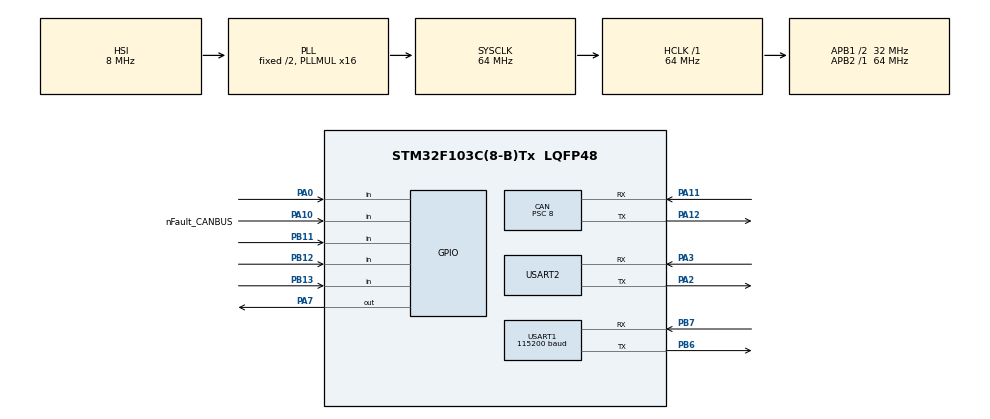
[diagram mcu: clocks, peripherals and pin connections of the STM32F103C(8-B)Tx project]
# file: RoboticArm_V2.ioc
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CAN.ABOM=ENABLE
CAN.BS1=CAN_BS1_13TQ
CAN.BS2=CAN_BS2_2TQ
CAN.CalculateBaudRate=250000
CAN.CalculateTimeBit=4000
CAN.CalculateTimeQuantum=250.0
CAN.NART=ENABLE
CAN.Prescaler=8
CAN.SJW=CAN_SJW_2TQ
Dma.Request0=USART2_RX
Dma.Request1=USART1_RX
Dma.USART1_RX.1.Direction=DMA_PERIPH_TO_MEMORY
Dma.USART1_RX.1.Instance=DMA1_Channel5
Dma.USART1_RX.1.MemDataAlignment=DMA_MDATAALIGN_BYTE
Dma.USART1_RX.1.MemInc=DMA_MINC_ENABLE
Dma.USART1_RX.1.Mode=DMA_NORMAL
Dma.USART1_RX.1.PeriphDataAlignment=DMA_PDATAALIGN_BYTE
Dma.USART1_RX.1.PeriphInc=DMA_PINC_DISABLE
Dma.USART1_RX.1.Priority=DMA_PRIORITY_LOW
Dma.USART2_RX.0.Direction=DMA_PERIPH_TO_MEMORY
Dma.USART2_RX.0.Instance=DMA1_Channel6
Dma.USART2_RX.0.MemDataAlignment=DMA_MDATAALIGN_BYTE
Dma.USART2_RX.0.MemInc=DMA_MINC_ENABLE
Dma.USART2_RX.0.Mode=DMA_NORMAL
Dma.USART2_RX.0.PeriphDataAlignment=DMA_PDATAALIGN_BYTE
Dma.USART2_RX.0.PeriphInc=DMA_PINC_DISABLE
Dma.USART2_RX.0.Priority=DMA_PRIORITY_LOW
Mcu.Family=STM32F1
Mcu.Name=STM32F103C(8-B)Tx
Mcu.Package=LQFP48
NVIC.DMA1_Channel5_IRQn=true\:0\:0\:false\:false\:true\:false\:true\:true
NVIC.DMA1_Channel6_IRQn=true\:0\:0\:false\:false\:true\:false\:true\:true
NVIC.PriorityGroup=NVIC_PRIORITYGROUP_4
NVIC.TIM2_IRQn=true\:0\:0\:false\:false\:true\:true\:true\:true
NVIC.TIM4_IRQn=true\:0\:0\:false\:false\:true\:true\:true\:true
NVIC.USART1_IRQn=true\:0\:0\:false\:false\:true\:true\:true\:true
NVIC.USART2_IRQn=true\:0\:0\:false\:false\:true\:true\:true\:true
NVIC.USB_LP_CAN1_RX0_IRQn=true\:0\:0\:false\:false\:true\:true\:true\:true
PA0-WKUP.Signal=GPIO_Input
PA10.GPIO_Label=nFault_CANBUS
PA10.Signal=GPIO_Input
PA11.Mode=CAN_Activate
PA11.Signal=CAN_RX
PA12.Mode=CAN_Activate
PA12.Signal=CAN_TX
PA13.Mode=Serial_Wire
PA13.Signal=SYS_JTMS-SWDIO
PA14.Mode=Serial_Wire
PA14.Signal=SYS_JTCK-SWCLK
PA2.Mode=Asynchronous
PA2.Signal=USART2_TX
PA3.Mode=Asynchronous
PA3.Signal=USART2_RX
PA7.Signal=GPIO_Output
PB11.Signal=GPIO_Input
PB12.Signal=GPIO_Input
PB13.Signal=GPIO_Input
PB6.Mode=Asynchronous
PB6.Signal=USART1_TX
PB7.Mode=Asynchronous
PB7.Signal=USART1_RX
ProjectManager.HeapSize=0x200
ProjectManager.StackSize=0x400
ProjectManager.TargetToolchain=STM32CubeIDE
RCC.ADCPresc=RCC_ADCPCLK2_DIV8
RCC.AHBFreq_Value=64000000
RCC.APB1CLKDivider=RCC_HCLK_DIV2
RCC.APB1Freq_Value=32000000
RCC.APB1TimFreq_Value=64000000
RCC.APB2Freq_Value=64000000
RCC.APB2TimFreq_Value=64000000
RCC.HCLKFreq_Value=64000000
RCC.PLLMUL=RCC_PLL_MUL16
RCC.SYSCLKFreq_VALUE=64000000
RCC.SYSCLKSource=RCC_SYSCLKSOURCE_PLLCLK
RCC.USBFreq_Value=64000000
TIM2.Period=199
TIM2.Prescaler=6399
TIM4.Period=199
TIM4.Prescaler=6399
USART1.BaudRate=115200
USART1.VirtualMode=VM_ASYNC
USART2.VirtualMode=VM_ASYNC
VP_TIM2_VS_ClockSourceINT.Mode=Internal
VP_TIM4_VS_ClockSourceINT.Mode=Internal
board=custom

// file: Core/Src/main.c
/* USER CODE BEGIN Header */
/**
  ******************************************************************************
  * @file           : main.c
  * @brief          : Main program body
  ******************************************************************************
  * @attention
  *
  * Copyright (c) 2025 STMicroelectronics.
  * All rights reserved.
  *
  * This software is licensed under terms that can be found in the LICENSE file
  * in the root directory of this software component.
  * If no LICENSE file comes with this software, it is provided AS-IS.
  *
  ******************************************************************************
  */
/* USER CODE END Header */
#include "main.h"

/* USER CODE BEGIN Includes */
#include "motor_control.h"
#include "motor_configuration.h"
#include "simulator_manager.h"
#include "arm_state_manager.h"
#include "arm_controller.h"
#include "ika_comm.h"
#include "gripper_link.h"
#include "homing.h"
/* USER CODE END Includes */

CAN_HandleTypeDef hcan;

TIM_HandleTypeDef htim2;
TIM_HandleTypeDef htim4;

UART_HandleTypeDef huart1;
UART_HandleTypeDef huart2;
DMA_HandleTypeDef hdma_usart1_rx;
DMA_HandleTypeDef hdma_usart2_rx;

/* USER CODE BEGIN PV */
uint32_t Testtime =0;
uint32_t periodTime = 0;

volatile uint8_t dbg_gripper_cmd = 0xFF;  /* 1 ac, 2 kapa, 3 dur, 4 ariza temizle, 5 ToF yeniden */
volatile int8_t  dbg_gripper_jog = 0;     /* +1 / -1 = operator tusu basili, 0 = birak */
volatile uint8_t dbg_can_tec, dbg_can_rec, dbg_can_lec;

bool ledOnOff = 0;
uint8_t test, test2, speedModeTest, VelTest = 0, testID=0, pin=0, pin1=0;
int32_t TestVelocity = 0 ;
/* USER CODE END PV */

void SystemClock_Config(void);
static void MX_GPIO_Init(void);
static void MX_DMA_Init(void);
static void MX_CAN_Init(void);
static void MX_USART2_UART_Init(void);
static void MX_TIM2_Init(void);
static void MX_USART1_UART_Init(void);
static void MX_TIM4_Init(void);

/* USER CODE BEGIN 0 */

/* FIFO1: motor SDO cevaplari (0x580-0x5FF) */
void HAL_CAN_RxFifo1MsgPendingCallback(CAN_HandleTypeDef *_hcan)
{
  if (_hcan == &hcan)
	{
		MotorControl_ProcessCanMessage();
	}
  else return;
}

/* FIFO0: kiskac karti mesajlari (0x681-0x693) */
void HAL_CAN_RxFifo0MsgPendingCallback(CAN_HandleTypeDef *_hcan)
{
  if (_hcan == &hcan)
  {
    GripperLink_OnCanRx(_hcan);
  }
}

void HAL_GPIO_EXTI_Callback(uint16_t GPIO_Pin)
{
	//if(GPIO_Pin == GPIO_PIN_12 || GPIO_Pin == GPIO_PIN_13 || GPIO_Pin == GPIO_PIN_4)
	//	Homing_HallEffectDetecter(GPIO_Pin);

}
/* USER CODE END 0 */

int main(void)
{

  /* MCU Configuration--------------------------------------------------------*/

  /* Reset of all peripherals, Initializes the Flash interface and the Systick. */
  HAL_Init();

  /* Configure the system clock */
  SystemClock_Config();

  /* Initialize all configured peripherals */
  MX_GPIO_Init();
  MX_DMA_Init();
  MX_CAN_Init();
  MX_USART2_UART_Init();
  MX_TIM2_Init();
  MX_USART1_UART_Init();
  MX_TIM4_Init();
  /* USER CODE BEGIN 2 */
  HAL_Delay(3000);
  MotorControl_InitalizeCanProtocol(&hcan);   /* CAN'i baslatir, motor filtresi bank 10 */
  GripperLink_Init(&hcan);                    /* kiskac filtresi bank 11 -> FIFO0 */
  MotorControl_SetAllMotorsToSpeedMode();
  HAL_Delay(100);
  SimulatorManager_InitializePortAndTimer(&huart2, &htim2);
  HAL_Delay(50);
  IkaComm_InitializePort(&huart1, &htim4);

/*	for (uint8_t i = 0; i < NUMBER_OF_MOTORS; i++) {
		MotorControl_SetMotorVelocity(MOTOR_CAN_IDS[i], 500);
	}
*/

  /* USER CODE END 2 */

  /* Infinite loop */
  while (1)
  {

    /* USER CODE BEGIN 3 */

    // Her loop'ta motorların pozisyonu mutlaka güncellenmeli
	    Testtime = HAL_GetTick();
	  	MotorControl_RequestMessage();
	 	for (uint8_t i = 0; i < NUMBER_OF_MOTORS; i++)
		{
			MotorControl_ReadPosition(MOTOR_CAN_IDS[i]);
		}
		for (uint8_t i = 0; i < 3; i++)
		{
			for (uint8_t i = 0; i < NUMBER_OF_MOTORS; i++)
			{
				MotorControl_ProcessMessageBuffer(MOTOR_CAN_IDS[i]);
				HAL_Delay(1);
			}
		}
		ArmStateManager_Update();

		if (dbg_gripper_cmd != 0xFF) { GripperLink_RequestCommand(dbg_gripper_cmd); dbg_gripper_cmd = 0xFF; }
		if (dbg_gripper_jog != 0)    { GripperLink_OperatorInput(dbg_gripper_jog); }
		uint32_t esr = hcan.Instance->ESR;
		dbg_can_tec = (esr >> 16) & 0xFF;  dbg_can_rec = (esr >> 24) & 0xFF;  dbg_can_lec = (esr >> 4) & 0x07;

		/* Kiskac: gelen durum/ToF mesajlarini isle, komut + canlilik gonder */
		GripperLink_Task();

		/*if(!HAL_GPIO_ReadPin(GPIOB, GPIO_PIN_13))
		{
			periodTime=periodTime;
		}*/

		if(ledOnOff)
			HAL_GPIO_WritePin(GPIOA, GPIO_PIN_7, 1);
		else
			HAL_GPIO_WritePin(GPIOA, GPIO_PIN_7, 0);

		periodTime = HAL_GetTick() - Testtime;

  }
  /* USER CODE END 3 */
}

void SystemClock_Config(void)
{
  RCC_OscInitTypeDef RCC_OscInitStruct = {0};
  RCC_ClkInitTypeDef RCC_ClkInitStruct = {0};

  /** Initializes the RCC Oscillators according to the specified parameters
  * in the RCC_OscInitTypeDef structure.
  */
  RCC_OscInitStruct.OscillatorType = RCC_OSCILLATORTYPE_HSI;
  RCC_OscInitStruct.HSIState = RCC_HSI_ON;
  RCC_OscInitStruct.HSICalibrationValue = RCC_HSICALIBRATION_DEFAULT;
  RCC_OscInitStruct.PLL.PLLState = RCC_PLL_ON;
  RCC_OscInitStruct.PLL.PLLSource = RCC_PLLSOURCE_HSI_DIV2;
  RCC_OscInitStruct.PLL.PLLMUL = RCC_PLL_MUL16;
  if (HAL_RCC_OscConfig(&RCC_OscInitStruct) != HAL_OK)
  {
    Error_Handler();
  }

  /** Initializes the CPU, AHB and APB buses clocks
  */
  RCC_ClkInitStruct.ClockType = RCC_CLOCKTYPE_HCLK|RCC_CLOCKTYPE_SYSCLK
                              |RCC_CLOCKTYPE_PCLK1|RCC_CLOCKTYPE_PCLK2;
  RCC_ClkInitStruct.SYSCLKSource = RCC_SYSCLKSOURCE_PLLCLK;
  RCC_ClkInitStruct.AHBCLKDivider = RCC_SYSCLK_DIV1;
  RCC_ClkInitStruct.APB1CLKDivider = RCC_HCLK_DIV2;
  RCC_ClkInitStruct.APB2CLKDivider = RCC_HCLK_DIV1;

  if (HAL_RCC_ClockConfig(&RCC_ClkInitStruct, FLASH_LATENCY_2) != HAL_OK)
  {
    Error_Handler();
  }
}

static void MX_CAN_Init(void)
{

  hcan.Instance = CAN1;
  hcan.Init.Prescaler = 8;
  hcan.Init.Mode = CAN_MODE_NORMAL;
  hcan.Init.SyncJumpWidth = CAN_SJW_2TQ;
  hcan.Init.TimeSeg1 = CAN_BS1_13TQ;
  hcan.Init.TimeSeg2 = CAN_BS2_2TQ;
  hcan.Init.TimeTriggeredMode = DISABLE;
  hcan.Init.AutoBusOff = ENABLE;
  hcan.Init.AutoWakeUp = DISABLE;
  hcan.Init.AutoRetransmission = ENABLE;
  hcan.Init.ReceiveFifoLocked = DISABLE;
  hcan.Init.TransmitFifoPriority = DISABLE;
  if (HAL_CAN_Init(&hcan) != HAL_OK)
  {
    Error_Handler();
  }

}

static void MX_TIM2_Init(void)
{

  TIM_ClockConfigTypeDef sClockSourceConfig = {0};
  TIM_MasterConfigTypeDef sMasterConfig = {0};

  htim2.Instance = TIM2;
  htim2.Init.Prescaler = 6399;
  htim2.Init.CounterMode = TIM_COUNTERMODE_UP;
  htim2.Init.Period = 199;
  htim2.Init.ClockDivision = TIM_CLOCKDIVISION_DIV1;
  htim2.Init.AutoReloadPreload = TIM_AUTORELOAD_PRELOAD_DISABLE;
  if (HAL_TIM_Base_Init(&htim2) != HAL_OK)
  {
    Error_Handler();
  }
  sClockSourceConfig.ClockSource = TIM_CLOCKSOURCE_INTERNAL;
  if (HAL_TIM_ConfigClockSource(&htim2, &sClockSourceConfig) != HAL_OK)
  {
    Error_Handler();
  }
  sMasterConfig.MasterOutputTrigger = TIM_TRGO_RESET;
  sMasterConfig.MasterSlaveMode = TIM_MASTERSLAVEMODE_DISABLE;
  if (HAL_TIMEx_MasterConfigSynchronization(&htim2, &sMasterConfig) != HAL_OK)
  {
    Error_Handler();
  }

}

static void MX_TIM4_Init(void)
{

  TIM_ClockConfigTypeDef sClockSourceConfig = {0};
  TIM_MasterConfigTypeDef sMasterConfig = {0};

  htim4.Instance = TIM4;
  htim4.Init.Prescaler = 6399;
  htim4.Init.CounterMode = TIM_COUNTERMODE_UP;
  htim4.Init.Period = 199;
  htim4.Init.ClockDivision = TIM_CLOCKDIVISION_DIV1;
  htim4.Init.AutoReloadPreload = TIM_AUTORELOAD_PRELOAD_DISABLE;
  if (HAL_TIM_Base_Init(&htim4) != HAL_OK)
  {
    Error_Handler();
  }
  sClockSourceConfig.ClockSource = TIM_CLOCKSOURCE_INTERNAL;
  if (HAL_TIM_ConfigClockSource(&htim4, &sClockSourceConfig) != HAL_OK)
  {
    Error_Handler();
  }
  sMasterConfig.MasterOutputTrigger = TIM_TRGO_RESET;
  sMasterConfig.MasterSlaveMode = TIM_MASTERSLAVEMODE_DISABLE;
  if (HAL_TIMEx_MasterConfigSynchronization(&htim4, &sMasterConfig) != HAL_OK)
  {
    Error_Handler();
  }

}

static void MX_USART1_UART_Init(void)
{

  huart1.Instance = USART1;
  huart1.Init.BaudRate = 115200;
  huart1.Init.WordLength = UART_WORDLENGTH_8B;
  huart1.Init.StopBits = UART_STOPBITS_1;
  huart1.Init.Parity = UART_PARITY_NONE;
  huart1.Init.Mode = UART_MODE_TX_RX;
  huart1.Init.HwFlowCtl = UART_HWCONTROL_NONE;
  huart1.Init.OverSampling = UART_OVERSAMPLING_16;
  if (HAL_UART_Init(&huart1) != HAL_OK)
  {
    Error_Handler();
  }

}

static void MX_USART2_UART_Init(void)
{

  huart2.Instance = USART2;
  huart2.Init.BaudRate = 115200;
  huart2.Init.WordLength = UART_WORDLENGTH_8B;
  huart2.Init.StopBits = UART_STOPBITS_1;
  huart2.Init.Parity = UART_PARITY_NONE;
  huart2.Init.Mode = UART_MODE_TX_RX;
  huart2.Init.HwFlowCtl = UART_HWCONTROL_NONE;
  huart2.Init.OverSampling = UART_OVERSAMPLING_16;
  if (HAL_UART_Init(&huart2) != HAL_OK)
  {
    Error_Handler();
  }

}

static void MX_DMA_Init(void)
{

  /* DMA controller clock enable */
  __HAL_RCC_DMA1_CLK_ENABLE();

  /* DMA interrupt init */
  /* DMA1_Channel5_IRQn interrupt configuration */
  HAL_NVIC_SetPriority(DMA1_Channel5_IRQn, 0, 0);
  HAL_NVIC_EnableIRQ(DMA1_Channel5_IRQn);
  /* DMA1_Channel6_IRQn interrupt configuration */
  HAL_NVIC_SetPriority(DMA1_Channel6_IRQn, 0, 0);
  HAL_NVIC_EnableIRQ(DMA1_Channel6_IRQn);

}

static void MX_GPIO_Init(void)
{
  GPIO_InitTypeDef GPIO_InitStruct = {0};

  /* GPIO Ports Clock Enable */
  __HAL_RCC_GPIOA_CLK_ENABLE();
  __HAL_RCC_GPIOB_CLK_ENABLE();

  /*Configure GPIO pin Output Level */
  HAL_GPIO_WritePin(GPIOA, GPIO_PIN_7, GPIO_PIN_RESET);

  /*Configure GPIO pins : PA0 nFault_CANBUS_Pin */
  GPIO_InitStruct.Pin = GPIO_PIN_0|nFault_CANBUS_Pin;
  GPIO_InitStruct.Mode = GPIO_MODE_INPUT;
  GPIO_InitStruct.Pull = GPIO_NOPULL;
  HAL_GPIO_Init(GPIOA, &GPIO_InitStruct);

  /*Configure GPIO pin : PA7 */
  GPIO_InitStruct.Pin = GPIO_PIN_7;
  GPIO_InitStruct.Mode = GPIO_MODE_OUTPUT_PP;
  GPIO_InitStruct.Pull = GPIO_NOPULL;
  GPIO_InitStruct.Speed = GPIO_SPEED_FREQ_LOW;
  HAL_GPIO_Init(GPIOA, &GPIO_InitStruct);

  /*Configure GPIO pins : PB11 PB12 PB13 */
  GPIO_InitStruct.Pin = GPIO_PIN_11|GPIO_PIN_12|GPIO_PIN_13;
  GPIO_InitStruct.Mode = GPIO_MODE_INPUT;
  GPIO_InitStruct.Pull = GPIO_NOPULL;
  HAL_GPIO_Init(GPIOB, &GPIO_InitStruct);

}

void Error_Handler(void)
{
  __disable_irq();
  while (1)
  {
  }
}
